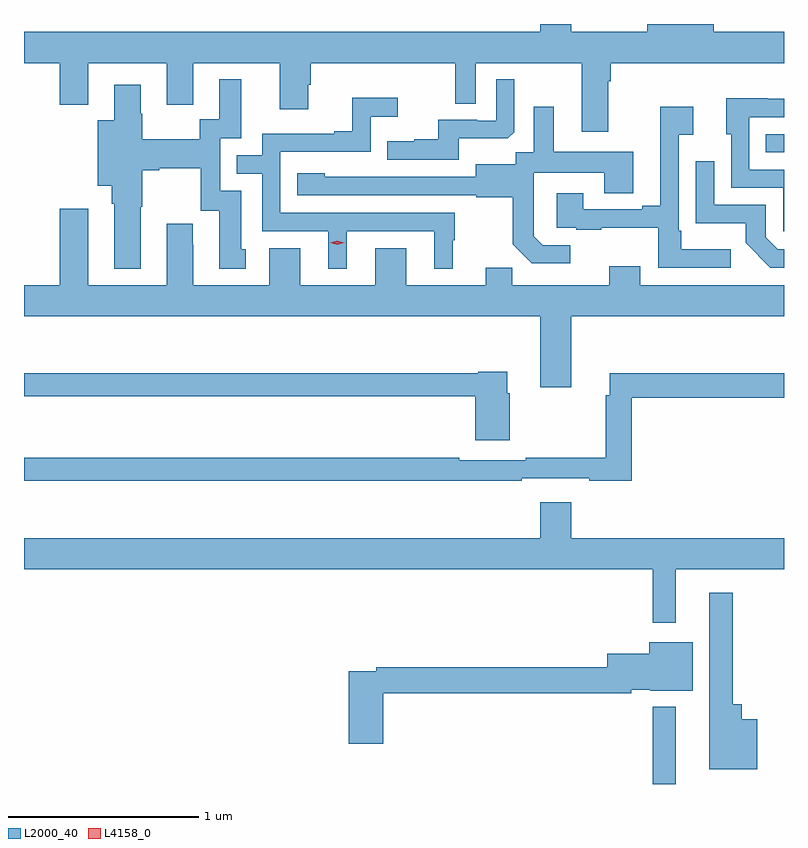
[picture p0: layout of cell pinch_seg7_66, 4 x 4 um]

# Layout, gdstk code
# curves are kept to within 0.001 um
import gdstk
lib = gdstk.Library(unit=1e-6, precision=1e-09)
def R(c, l, rs):  # rectangles x0, y0, x1, y1
    for r in rs: c.add(gdstk.rectangle(r[:2], r[2:], *l))
def P(c, l, *ps):  # polygons
    for p in ps: c.add(gdstk.Polygon(p, *l))
L2000_40 = (2000, 40)
L4158_0 = (4158, 0)

pinch_seg7_66 = lib.new_cell('pinch_seg7_66')
R(pinch_seg7_66, L2000_40, [(968.796,1055.43,968.917,1055.836), (969.391,1058.754,969.488,1058.85)])
P(pinch_seg7_66, L2000_40, [(968.563,1059.128),(968.576,1059.128),(968.576,1059.224),(969.488,1059.224),(969.488,1059.388),(969.118,1059.388),(969.118,1059.43),(968.768,1059.43),(968.768,1059.388),(968.368,1059.388),(968.368,1059.43),(968.204,1059.43),(968.204,1059.388),(965.488,1059.388),(965.488,1059.224),(965.675,1059.224),(965.675,1059.006),(965.827,1059.006),(965.827,1059.224),(966.239,1059.224),(966.239,1059.006),(966.379,1059.006),(966.379,1059.224),(966.833,1059.224),(966.833,1058.982),(966.985,1058.982),(966.985,1059.111),(966.998,1059.111),(966.998,1059.224),(967.758,1059.224),(967.758,1059.01),(967.866,1059.01),(967.866,1059.224),(968.423,1059.224),(968.423,1058.862),(968.563,1058.862)],
  [(967.777,1058.828),(968.035,1058.828),(968.067,1058.859),(968.067,1059.139),(967.974,1059.139),(967.974,1058.922),(967.874,1058.922),(967.874,1058.925),(967.667,1058.925),(967.667,1058.824),(967.543,1058.824),(967.543,1058.812),(967.399,1058.812),(967.399,1058.715),(967.777,1058.715)],
  [(966.103,1058.467),(966.111,1058.467),(966.111,1058.66),(966.199,1058.66),(966.199,1058.672),(966.419,1058.672),(966.419,1058.448),(966.515,1058.448),(966.515,1058.142),(966.655,1058.142),(966.655,1058.244),(966.631,1058.244),(966.631,1058.553),(966.522,1058.553),(966.522,1058.829),(966.631,1058.829),(966.631,1059.139),(966.515,1059.139),(966.515,1058.93),(966.414,1058.93),(966.414,1058.824),(966.111,1058.824),(966.111,1058.958),(966.103,1058.958),(966.103,1059.109),(965.963,1059.109),(965.963,1058.923),(965.876,1058.923),(965.876,1058.579),(965.951,1058.579),(965.951,1058.483),(965.963,1058.483),(965.963,1058.141),(966.103,1058.141)],
  [(967.186,1058.34),(967.646,1058.34),(967.646,1058.141),(967.744,1058.141),(967.744,1058.292),(967.756,1058.292),(967.756,1058.436),(966.837,1058.436),(966.837,1058.757),(967.314,1058.757),(967.314,1058.942),(967.456,1058.942),(967.456,1059.041),(967.216,1059.041),(967.216,1058.866),(967.121,1058.866),(967.121,1058.853),(966.741,1058.853),(966.741,1058.739),(966.607,1058.739),(966.607,1058.643),(966.741,1058.643),(966.741,1058.34),(967.088,1058.34),(967.088,1058.141),(967.186,1058.141)],
  [(969.488,1058.664),(969.306,1058.664),(969.306,1058.94),(969.488,1058.94),(969.488,1059.036),(969.403,1059.036),(969.403,1059.038),(969.185,1059.038),(969.185,1058.85),(969.21,1058.85),(969.21,1058.568),(969.483,1058.568),(969.483,1058.34),(969.488,1058.34)],
  [(969.208,1058.245),(968.947,1058.245),(968.947,1058.341),(968.934,1058.341),(968.934,1058.846),(969.01,1058.846),(969.01,1058.995),(968.837,1058.995),(968.837,1058.473),(968.741,1058.473),(968.741,1058.454),(968.431,1058.454),(968.431,1058.539),(968.291,1058.539),(968.291,1058.358),(968.395,1058.358),(968.395,1058.346),(968.527,1058.346),(968.527,1058.357),(968.826,1058.357),(968.826,1058.148),(969.208,1058.148)],
  [(968.362,1058.265),(968.217,1058.265),(968.17,1058.312),(968.17,1058.407),(968.172,1058.407),(968.172,1058.648),(968.543,1058.648),(968.543,1058.539),(968.695,1058.539),(968.695,1058.758),(968.275,1058.758),(968.275,1058.995),(968.171,1058.995),(968.171,1058.756),(968.076,1058.756),(968.076,1058.692),(967.865,1058.692),(967.865,1058.625),(967.071,1058.626),(967.071,1058.644),(966.927,1058.644),(966.927,1058.529),(967.869,1058.529),(967.869,1058.517),(968.061,1058.517),(968.061,1058.271),(968.161,1058.171),(968.362,1058.171)],
  [(969.488,1058.244),(969.456,1058.244),(969.393,1058.307),(969.393,1058.478),(969.12,1058.478),(969.12,1058.707),(969.024,1058.707),(969.024,1058.381),(969.286,1058.381),(969.286,1058.279),(969.416,1058.148),(969.488,1058.148)],
  [(968.368,1057.892),(969.488,1057.892),(969.488,1058.056),(968.731,1058.056),(968.731,1058.155),(968.567,1058.155),(968.567,1058.056),(968.057,1058.056),(968.057,1058.147),(967.919,1058.147),(967.919,1058.056),(967.501,1058.056),(967.501,1058.251),(967.337,1058.251),(967.337,1058.056),(966.943,1058.056),(966.943,1058.251),(966.779,1058.251),(966.779,1058.056),(966.379,1058.056),(966.379,1058.267),(966.376,1058.267),(966.376,1058.38),(966.239,1058.38),(966.239,1058.056),(965.827,1058.056),(965.827,1058.458),(965.675,1058.458),(965.675,1058.056),(965.488,1058.056),(965.488,1057.892),(968.204,1057.892),(968.204,1057.518),(968.368,1057.518)],
  [(968.045,1057.487),(968.032,1057.487),(968.032,1057.599),(967.878,1057.599),(967.878,1057.591),(965.488,1057.591),(965.488,1057.47),(967.862,1057.47),(967.862,1057.239),(968.045,1057.239)],
  [(968.108,1057.038),(968.464,1057.038),(968.464,1057.026),(968.687,1057.026),(968.687,1057.462),(969.488,1057.462),(969.488,1057.591),(968.57,1057.591),(968.57,1057.475),(968.551,1057.475),(968.551,1057.147),(968.128,1057.147),(968.128,1057.134),(967.778,1057.134),(967.778,1057.147),(965.488,1057.147),(965.488,1057.026),(968.108,1057.026)],
  [(968.917,1056.56),(969.488,1056.56),(969.488,1056.724),(968.368,1056.724),(968.368,1056.913),(968.204,1056.913),(968.204,1056.724),(965.488,1056.724),(965.488,1056.56),(968.796,1056.56),(968.796,1056.279),(968.917,1056.279)],
  [(969.346,1055.77),(969.266,1055.77),(969.266,1055.851),(969.217,1055.851),(969.217,1056.436),(969.095,1056.436),(969.095,1055.507),(969.346,1055.507)],
  [(967.379,1055.908),(968.684,1055.908),(968.684,1055.927),(968.784,1055.927),(968.784,1055.921),(969.007,1055.921),(969.007,1056.175),(968.78,1056.175),(968.78,1056.115),(968.558,1056.115),(968.558,1056.044),(967.342,1056.044),(967.342,1056.024),(967.196,1056.024),(967.196,1055.643),(967.379,1055.643)])
P(pinch_seg7_66, L4158_0, [(967.137,1058.269),(967.101,1058.279),(967.101,1058.279),(967.101,1058.279),(967.137,1058.289),(967.172,1058.279),(967.173,1058.279),(967.172,1058.279)])

lib.write_gds('pinch_seg7_66.gds')
